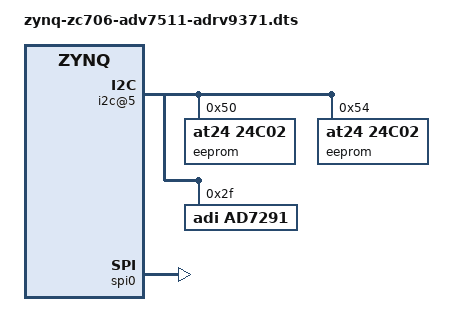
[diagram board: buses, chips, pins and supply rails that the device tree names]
// SPDX-License-Identifier: GPL-2.0
/*
 * Analog Devices ADRV9371
 * https://wiki.analog.com/resources/tools-software/linux-drivers/iio-transceiver/ad9371
 * https://wiki.analog.com/resources/eval/user-guides/mykonos
 *
 * hdl_project: <adrv9371x/zc706>
 * board_revision: <>
 *
 * Copyright (C) 2016-2019 Analog Devices Inc.
 */
/dts-v1/;

#include "zynq-zc706.dtsi"
#include "zynq-zc706-adv7511.dtsi"
#include <dt-bindings/gpio/gpio.h>
#include <dt-bindings/jesd204/adxcvr.h>

&i2c_mux {
	i2c@5 { /* HPC IIC */
		#address-cells = <1>;
		#size-cells = <0>;
		reg = <5>;

		eeprom@50 {
			compatible = "at24,24c02";
			reg = <0x50>;
		};

		eeprom@54 {
			compatible = "at24,24c02";
			reg = <0x54>;
		};

		ad7291@2f {
			compatible = "adi,ad7291";
			reg = <0x2f>;
		};
	};
};

&fpga_axi {
	rx_dma: rx-dmac@7c400000 {
		compatible = "adi,axi-dmac-1.00.a";
		reg = <0x7c400000 0x10000>;
		#dma-cells = <1>;
		interrupts = <0 57 IRQ_TYPE_LEVEL_HIGH>;
		clocks = <&clkc 16>;

		adi,channels {
			#size-cells = <0>;
			#address-cells = <1>;

			dma-channel@0 {
				reg = <0>;
				adi,source-bus-width = <64>;
				adi,source-bus-type = <2>;
				adi,destination-bus-width = <64>;
				adi,destination-bus-type = <0>;
			};
		};
	};

	rx_obs_dma: rx-obs-dmac@7c440000  {
		compatible = "adi,axi-dmac-1.00.a";
		reg = <0x7c440000  0x10000>;
		#dma-cells = <1>;
		interrupts = <0 55 IRQ_TYPE_LEVEL_HIGH>;
		clocks = <&clkc 16>;

		adi,channels {
			#size-cells = <0>;
			#address-cells = <1>;

			dma-channel@0 {
				reg = <0>;
				adi,source-bus-width = <64>;
				adi,source-bus-type = <2>;
				adi,destination-bus-width = <64>;
				adi,destination-bus-type = <0>;
			};
		};
	};

	tx_dma: tx-dmac@7c420000 {
		compatible = "adi,axi-dmac-1.00.a";
		reg = <0x7c420000 0x10000>;
		#dma-cells = <1>;
		interrupts = <0 56 IRQ_TYPE_LEVEL_HIGH>;
		clocks = <&clkc 16>;

		adi,channels {
			#size-cells = <0>;
			#address-cells = <1>;

			dma-channel@0 {
				reg = <0>;
				adi,source-bus-width = <64>;
				adi,source-bus-type = <0>;
				adi,destination-bus-width = <128>;
				adi,destination-bus-type = <1>;
			};
		};
	};

	axi_ad9371_core_rx: axi-ad9371-rx-hpc@44a00000 {
		compatible = "adi,axi-ad9371-rx-1.0";
		reg = <0x44a00000 0x8000>;
		dmas = <&rx_dma 0>;
		dma-names = "rx";
		spibus-connected = <&trx0_ad9371>;
		adi,axi-decimation-core-available;
		decimation-gpios = <&gpio0 115 GPIO_ACTIVE_HIGH>;
	};

	axi_ad9371_core_rx_obs: axi-ad9371-rx-obs-hpc@44a08000 {
		compatible = "adi,axi-ad9371-obs-1.0";
		reg = <0x44a08000 0x1000>;
		dmas = <&rx_obs_dma 0>;
		dma-names = "rx";
		clocks = <&trx0_ad9371 1>;
		clock-names = "sampl_clk";
	};

	axi_ad9371_core_tx: axi-ad9371-tx-hpc@44a04000 {
		compatible = "adi,axi-ad9371-tx-1.0";
		reg = <0x44a04000 0x4000>;
		dmas = <&tx_dma 0>;
		dma-names = "tx";
		clocks = <&trx0_ad9371 2>;
		clock-names = "sampl_clk";
		spibus-connected = <&trx0_ad9371>;
		adi,axi-pl-fifo-enable;
		adi,axi-interpolation-core-available;
		interpolation-gpios = <&gpio0 116 GPIO_ACTIVE_HIGH>;
	};

	axi_ad9371_rx_jesd: axi-jesd204-rx@44aa0000 {
		compatible = "adi,axi-jesd204-rx-1.0";
		reg = <0x44aa0000 0x1000>;

		interrupts = <0 54 IRQ_TYPE_LEVEL_HIGH>;

		clocks = <&clkc 16>, <&axi_rx_clkgen>, <&axi_ad9371_adxcvr_rx 0>;
		clock-names = "s_axi_aclk", "device_clk", "lane_clk";

		#clock-cells = <0>;
		clock-output-names = "jesd_rx_lane_clk";

		adi,octets-per-frame = <4>;
		adi,frames-per-multiframe = <32>;
	};

	axi_ad9371_tx_jesd: axi-jesd204-tx@44a90000 {
		compatible = "adi,axi-jesd204-tx-1.0";
		reg = <0x44a90000 0x1000>;

		interrupts = <0 53 IRQ_TYPE_LEVEL_HIGH>;

		clocks = <&clkc 16>, <&axi_tx_clkgen>, <&axi_ad9371_adxcvr_tx 0>;
		clock-names = "s_axi_aclk", "device_clk", "lane_clk";

		#clock-cells = <0>;
		clock-output-names = "jesd_tx_lane_clk";

		adi,octets-per-frame = <2>;
		adi,frames-per-multiframe = <32>;
		adi,converter-resolution = <14>;
		adi,bits-per-sample = <16>;
		adi,converters-per-device = <4>;
		adi,control-bits-per-sample = <2>;
	};

	axi_ad9371_rx_os_jesd: axi-jesd204-rx@44ab0000 {
		compatible = "adi,axi-jesd204-rx-1.0";
		reg = <0x44ab0000 0x1000>;

		interrupts = <0 52 IRQ_TYPE_LEVEL_HIGH>;

		clocks = <&clkc 16>, <&axi_rx_os_clkgen>, <&axi_ad9371_adxcvr_rx_os 0>;
		clock-names = "s_axi_aclk", "device_clk", "lane_clk";

		#clock-cells = <0>;
		clock-output-names = "jesd_rx_os_lane_clk";

		adi,octets-per-frame = <2>;
		adi,frames-per-multiframe = <32>;
	};

	axi_tx_clkgen: axi-clkgen@43c00000  {
		compatible = "adi,axi-clkgen-2.00.a";
		reg = <0x43c00000 0x10000>;
		#clock-cells = <0>;
		clocks = <&clkc 15>, <&clk0_ad9528 1>;
		clock-names = "s_axi_aclk", "clkin1";
		clock-output-names = "axi_tx_clkgen";
	};

	axi_rx_clkgen: axi-clkgen@43c10000  {
		compatible = "adi,axi-clkgen-2.00.a";
		reg = <0x43c10000 0x10000>;
		#clock-cells = <0>;
		clocks = <&clkc 15>, <&clk0_ad9528 1>;
		clock-names = "s_axi_aclk", "clkin1";
		clock-output-names = "axi_rx_clkgen";

	};

	axi_rx_os_clkgen: axi-clkgen@43c20000  {
		compatible = "adi,axi-clkgen-2.00.a";
		reg = <0x43c20000 0x10000>;
		#clock-cells = <0>;
		clocks = <&clkc 15>, <&clk0_ad9528 1>;
		clock-names = "s_axi_aclk", "clkin1";
		clock-output-names = "axi_rx_os_clkgen";

	};

	axi_ad9371_adxcvr_rx: axi-adxcvr-rx@44a60000 {
		#address-cells = <1>;
		#size-cells = <0>;
		compatible = "adi,axi-adxcvr-1.0";
		reg = <0x44a60000 0x1000>;

		clocks = <&clk0_ad9528 1>, <&axi_rx_clkgen 0>;
		clock-names = "conv", "div40";

		#clock-cells = <1>;
		clock-output-names = "rx_gt_clk", "rx_out_clk";

		adi,sys-clk-select = <XCVR_CPLL>;
		adi,out-clk-select = <XCVR_REFCLK>;
		adi,use-lpm-enable;
	};

	axi_ad9371_adxcvr_rx_os: axi-adxcvr-rx-os@44a50000 {
		#address-cells = <1>;
		#size-cells = <0>;
		compatible = "adi,axi-adxcvr-1.0";
		reg = <0x44a50000 0x1000>;

		clocks = <&clk0_ad9528 1>, <&axi_rx_os_clkgen>;
		clock-names = "conv", "div40";

		#clock-cells = <1>;
		clock-output-names = "rx_os_gt_clk", "rx_os_out_clk";

		adi,sys-clk-select = <XCVR_CPLL>;
		adi,out-clk-select = <XCVR_REFCLK>;
		adi,use-lpm-enable;
	};

	axi_ad9371_adxcvr_tx: axi-adxcvr-tx@44a80000 {
		#address-cells = <1>;
		#size-cells = <0>;
		compatible = "adi,axi-adxcvr-1.0";
		reg = <0x44a80000 0x1000>;

		clocks = <&clk0_ad9528 1>, <&axi_tx_clkgen>;
		clock-names = "conv", "div40";

		#clock-cells = <1>;
		clock-output-names = "tx_gt_clk", "tx_out_clk";

		adi,sys-clk-select = <XCVR_QPLL>;
		adi,out-clk-select = <XCVR_REFCLK>;
	};
};

&spi0 {
	status = "okay";
};

#define fmc_spi spi0

#include "adi-adrv9371.dtsi"

// ad9371_dac_fifo_bypass_s 60
// ad9528_reset_b,       // 59
// ad9528_sysref_req,    // 58
// ad9371_tx1_enable,    // 57
// ad9371_tx2_enable,    // 56
// ad9371_rx1_enable,    // 55
// ad9371_rx2_enable,    // 54
// ad9371_test,          // 53
// ad9371_reset_b,       // 52
// ad9371_gpint,         // 51
// ad9371_gpio_00,       // 50
// ad9371_gpio_01,       // 49
// ad9371_gpio_02,       // 48
// ad9371_gpio_03,       // 47
// ad9371_gpio_04,       // 46
// ad9371_gpio_05,       // 45
// ad9371_gpio_06,       // 44
// ad9371_gpio_07,       // 43
// ad9371_gpio_15,       // 42
// ad9371_gpio_08,       // 41
// ad9371_gpio_09,       // 40
// ad9371_gpio_10,       // 39
// ad9371_gpio_11,       // 38
// ad9371_gpio_12,       // 37
// ad9371_gpio_14,       // 36
// ad9371_gpio_13,       // 35
// ad9371_gpio_17,       // 34
// ad9371_gpio_16,       // 33
// ad9371_gpio_18}));    // 32 + 54

&trx0_ad9371 {
	reset-gpios = <&gpio0 106 0>;
	test-gpios = <&gpio0 107 0>;
	sysref_req-gpios = <&gpio0 112 0>;
	rx2_enable-gpios = <&gpio0 108 0>;
	rx1_enable-gpios = <&gpio0 109 0>;
	tx2_enable-gpios = <&gpio0 110 0>;
	tx1_enable-gpios = <&gpio0 111 0>;
};

&clk0_ad9528 {
	reset-gpios = <&gpio0 113 0>;
};

&axi_ad9371_core_tx {
	plddrbypass-gpios = <&gpio0 114 0>;
};
